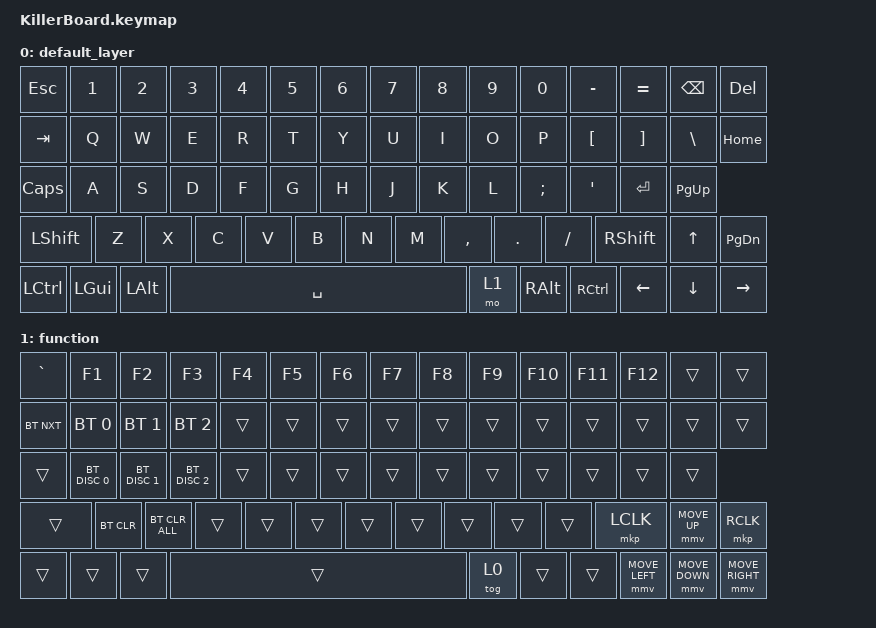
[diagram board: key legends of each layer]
#include <behaviors.dtsi>
#include <dt-bindings/zmk/bt.h>
#include <dt-bindings/zmk/keys.h>
#include <dt-bindings/zmk/pointing.h>

/ {
    keymap {
        compatible = "zmk,keymap";

        default_layer {
            bindings = <
&kp ESC  &kp N1  &kp N2  &kp N3  &kp N4  &kp N5  &kp N6  &kp N7  &kp N8  &kp N9  &kp N0  &kp MINUS  &kp EQUAL  &kp BSPC  &kp DEL  
&kp TAB  &kp Q  &kp W  &kp E  &kp R  &kp T  &kp Y  &kp U  &kp I  &kp O  &kp P  &kp LBKT  &kp RBKT  &kp BSLH  &kp HOME  
&kp CAPS  &kp A  &kp S  &kp D  &kp F  &kp G  &kp H  &kp J  &kp K  &kp L  &kp SEMI  &kp SQT  &kp RET  &kp PG_UP  
&kp LSHFT  &kp Z  &kp X  &kp C  &kp V  &kp B  &kp N  &kp M  &kp COMMA  &kp DOT  &kp FSLH  &kp RSHFT  &kp UP  &kp PG_DN  
&kp LCTRL  &kp LGUI  &kp LALT  &kp SPACE  &mo 1  &kp RALT  &kp RCTRL  &kp LEFT  &kp DOWN  &kp RIGHT
            >;
        };

        function {
            bindings = <
&kp GRAVE  &kp F1  &kp F2  &kp F3  &kp F4  &kp F5  &kp F6  &kp F7  &kp F8  &kp F9  &kp F10  &kp F11  &kp F12  &trans  &trans  
&bt BT_NXT  &bt BT_SEL 0  &bt BT_SEL 1  &bt BT_SEL 2  &trans  &trans  &trans  &trans  &trans  &trans  &trans  &trans  &trans  &trans  &trans  
&trans  &bt BT_DISC 0  &bt BT_DISC 1  &bt BT_DISC 2  &trans  &trans  &trans  &trans  &trans  &trans  &trans  &trans  &trans  &trans  
&trans  &bt BT_CLR  &bt BT_CLR_ALL  &trans  &trans  &trans  &trans  &trans  &trans  &trans  &trans  &mkp LCLK  &mmv MOVE_UP  &mkp RCLK  
&trans  &trans  &trans  &trans  &tog 0  &trans  &trans  &mmv MOVE_LEFT  &mmv MOVE_DOWN  &mmv MOVE_RIGHT
            >;
        };
    };
};

